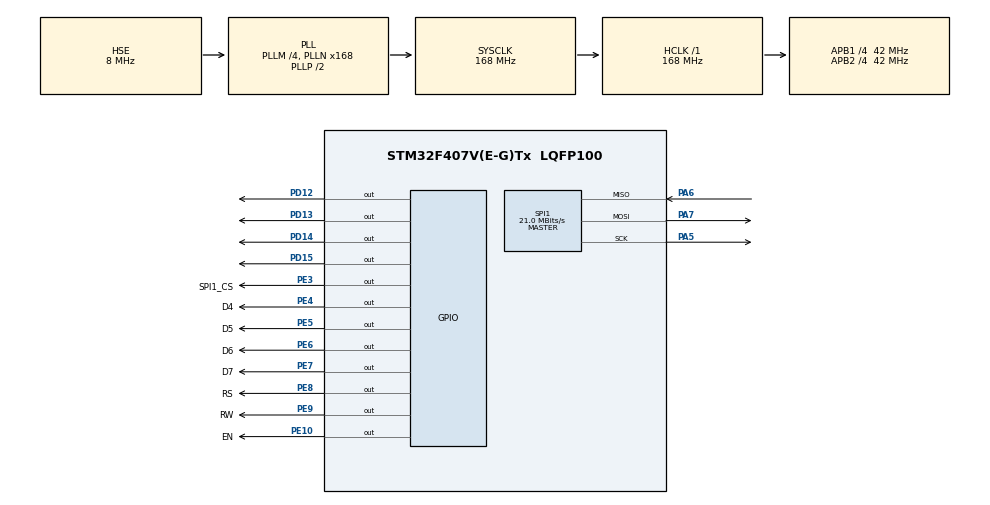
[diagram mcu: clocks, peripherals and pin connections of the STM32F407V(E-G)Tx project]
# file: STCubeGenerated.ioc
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Mcu.Family=STM32F4
Mcu.Name=STM32F407V(E-G)Tx
Mcu.Package=LQFP100
NVIC.PriorityGroup=NVIC_PRIORITYGROUP_4
PA5.Mode=Full_Duplex_Master
PA5.Signal=SPI1_SCK
PA6.Mode=Full_Duplex_Master
PA6.Signal=SPI1_MISO
PA7.Mode=Full_Duplex_Master
PA7.Signal=SPI1_MOSI
PD12.Signal=GPIO_Output
PD13.Signal=GPIO_Output
PD14.Signal=GPIO_Output
PD15.Signal=GPIO_Output
PE10.GPIO_Label=EN
PE10.GPIO_ModeDefaultOutputPP=GPIO_MODE_OUTPUT_PP
PE10.GPIO_PuPd=GPIO_NOPULL
PE10.Signal=GPIO_Output
PE3.GPIO_Label=SPI1_CS
PE3.Signal=GPIO_Output
PE4.GPIO_Label=D4
PE4.GPIO_ModeDefaultOutputPP=GPIO_MODE_OUTPUT_PP
PE4.GPIO_PuPd=GPIO_NOPULL
PE4.Signal=GPIO_Output
PE5.GPIO_Label=D5
PE5.GPIO_ModeDefaultOutputPP=GPIO_MODE_OUTPUT_PP
PE5.GPIO_PuPd=GPIO_NOPULL
PE5.Signal=GPIO_Output
PE6.GPIO_Label=D6
PE6.GPIO_ModeDefaultOutputPP=GPIO_MODE_OUTPUT_PP
PE6.GPIO_PuPd=GPIO_NOPULL
PE6.Signal=GPIO_Output
PE7.GPIO_Label=D7
PE7.GPIO_ModeDefaultOutputPP=GPIO_MODE_OUTPUT_PP
PE7.GPIO_PuPd=GPIO_NOPULL
PE7.Signal=GPIO_Output
PE8.GPIO_Label=RS
PE8.GPIO_ModeDefaultOutputPP=GPIO_MODE_OUTPUT_PP
PE8.GPIO_PuPd=GPIO_NOPULL
PE8.Signal=GPIO_Output
PE9.GPIO_Label=RW
PE9.GPIO_ModeDefaultOutputPP=GPIO_MODE_OUTPUT_PP
PE9.GPIO_PuPd=GPIO_NOPULL
PE9.Signal=GPIO_Output
PH0-OSC_IN.Mode=HSE-External-Oscillator
PH0-OSC_IN.Signal=RCC_OSC_IN
PH1-OSC_OUT.Mode=HSE-External-Oscillator
PH1-OSC_OUT.Signal=RCC_OSC_OUT
ProjectManager.HeapSize=0x200
ProjectManager.StackSize=0x400
ProjectManager.TargetToolchain=MDK-ARM V5
RCC.48MHZClocksFreq_Value=84000000
RCC.AHBFreq_Value=168000000
RCC.APB1CLKDivider=RCC_HCLK_DIV4
RCC.APB1Freq_Value=42000000
RCC.APB1TimFreq_Value=84000000
RCC.APB2CLKDivider=RCC_HCLK_DIV4
RCC.APB2Freq_Value=42000000
RCC.APB2TimFreq_Value=84000000
RCC.CortexFreq_Value=168000000
RCC.HCLKFreq_Value=168000000
RCC.HSE_VALUE=8000000
RCC.HSI_VALUE=16000000
RCC.LSE_VALUE=32768
RCC.PLLM=4
RCC.PLLN=168
RCC.PLLSourceVirtual=RCC_PLLSOURCE_HSE
RCC.SYSCLKFreq_VALUE=168000000
RCC.SYSCLKSource=RCC_SYSCLKSOURCE_PLLCLK
RCC.VCOOutputFreq_Value=336000000
SPI1.CalculateBaudRate=21.0 MBits/s
SPI1.Direction=SPI_DIRECTION_2LINES
SPI1.Mode=SPI_MODE_MASTER
SPI1.VirtualType=VM_MASTER
board=custom

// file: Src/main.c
/* USER CODE BEGIN Header */
/**
  ******************************************************************************
  * @file           : main.c
  * @brief          : Main program body
  ******************************************************************************
  * @attention
  *
  * Copyright (c) 2023 STMicroelectronics.
  * All rights reserved.
  *
  * This software is licensed under terms that can be found in the LICENSE file
  * in the root directory of this software component.
  * If no LICENSE file comes with this software, it is provided AS-IS.
  *
  ******************************************************************************
  */
/* USER CODE END Header */
#include "main.h"

/* USER CODE BEGIN Includes */
#include "lcd.h"
#include "stdio.h"

/* USER CODE END Includes */

SPI_HandleTypeDef hspi1;

void SystemClock_Config(void);
static void MX_GPIO_Init(void);
static void MX_SPI1_Init(void);

int main(void)
{

  /* MCU Configuration--------------------------------------------------------*/

  /* Reset of all peripherals, Initializes the Flash interface and the Systick. */
  HAL_Init();

  /* Configure the system clock */
  SystemClock_Config();

  /* Initialize all configured peripherals */
  MX_GPIO_Init();
  MX_SPI1_Init();
  /* USER CODE BEGIN 2 */

	// lcd_init
	HAL_GPIO_WritePin(RW_GPIO_Port, RW_Pin, 0);
	Lcd_PortType ports[] = { D4_GPIO_Port, D5_GPIO_Port, D6_GPIO_Port, D7_GPIO_Port };
	Lcd_PinType pins[] = {D4_Pin, D5_Pin, D6_Pin, D7_Pin};
	Lcd_HandleTypeDef lcd;
	lcd = Lcd_create(ports, pins, RS_GPIO_Port, RS_Pin, EN_GPIO_Port, EN_Pin, LCD_4_BIT_MODE);

	// write something and wait 3sec
	Lcd_string(&lcd, "BANU Embedded Sys.");
	Lcd_cursor(&lcd, 1,6);
	Lcd_int(&lcd, 2023);
	HAL_Delay(1000);
	Lcd_clear(&lcd);

  /* USER CODE END 2 */

  /* Infinite loop */
  /* USER CODE BEGIN WHILE */

/*****************************************************************/
	char str[16];

	uint8_t txData[8], rxData[8];
	uint16_t xData;
	uint16_t yData;
	uint16_t zData;
	uint8_t statusReg;

	__HAL_SPI_ENABLE(&hspi1);

  while (1)
  {

		// read who_am_i register
		txData[0]=0x0F|0x80;

		HAL_GPIO_WritePin(SPI1_CS_GPIO_Port, SPI1_CS_Pin, 0);
		HAL_SPI_Transmit(&hspi1, txData, 1, 50);
		HAL_SPI_Receive(&hspi1, rxData, 1, 50);
		HAL_GPIO_WritePin(SPI1_CS_GPIO_Port, SPI1_CS_Pin, 1);

		//HAL_SPI_TransmitReceive(&hspi1, txData, rxData, 3, 100);

		// read status register
		txData[0]=0x27|0x80;

		HAL_GPIO_WritePin(SPI1_CS_GPIO_Port, SPI1_CS_Pin, 0);
		HAL_SPI_Transmit(&hspi1, txData, 1, 50);
		HAL_SPI_Receive(&hspi1, rxData, 1, 50);
		HAL_GPIO_WritePin(SPI1_CS_GPIO_Port, SPI1_CS_Pin, 1);

		statusReg=rxData[0];

		// is x updated
		if (statusReg&1)
		{
			txData[0]=0x28|0x80;
			txData[0]=0x29|0x80;

			HAL_GPIO_WritePin(SPI1_CS_GPIO_Port, SPI1_CS_Pin, 0);
			// read x_H
			HAL_SPI_Transmit(&hspi1, &txData[0], 1, 50);
			HAL_SPI_Receive(&hspi1, &rxData[0], 1, 50);
			// read x_y
			HAL_SPI_Transmit(&hspi1, &txData[1], 1, 50);
			HAL_SPI_Receive(&hspi1, &rxData[1], 1, 50);

			HAL_GPIO_WritePin(SPI1_CS_GPIO_Port, SPI1_CS_Pin, 1);

			xData=(uint16_t)(rxData[0]<<8)+rxData[1];
		}

		// is y updated
		if (statusReg&2)
		{
			txData[0]=0x2A|0x80;
			txData[0]=0x2B|0x80;

			HAL_GPIO_WritePin(SPI1_CS_GPIO_Port, SPI1_CS_Pin, 0);
			// read x_H
			HAL_SPI_Transmit(&hspi1, &txData[0], 1, 50);
			HAL_SPI_Receive(&hspi1, &rxData[0], 1, 50);
			// read x_y
			HAL_SPI_Transmit(&hspi1, &txData[1], 1, 50);
			HAL_SPI_Receive(&hspi1, &rxData[1], 1, 50);

			HAL_GPIO_WritePin(SPI1_CS_GPIO_Port, SPI1_CS_Pin, 1);

			yData=(uint16_t)(rxData[0]<<8)+rxData[1];
		}

		// is z updated
		if (statusReg&4)
		{
			txData[0]=0x2C|0x80;
			txData[0]=0x2D|0x80;

			HAL_GPIO_WritePin(SPI1_CS_GPIO_Port, SPI1_CS_Pin, 0);
			// read x_H
			HAL_SPI_Transmit(&hspi1, &txData[0], 1, 50);
			HAL_SPI_Receive(&hspi1, &rxData[0], 1, 50);
			// read x_y
			HAL_SPI_Transmit(&hspi1, &txData[1], 1, 50);
			HAL_SPI_Receive(&hspi1, &rxData[1], 1, 50);

			HAL_GPIO_WritePin(SPI1_CS_GPIO_Port, SPI1_CS_Pin, 1);

			zData=(uint16_t)(rxData[0]<<8)+rxData[1];
		}
/*****************************************************************/

		// print data to lcd
		Lcd_cursor(&lcd, 0,0);
		snprintf(str, 16, "x= %d y= %d", xData, yData);
		Lcd_string(&lcd, str);
		Lcd_cursor(&lcd, 1,0);
		snprintf(str, 16, "z= %d", zData);
		Lcd_string(&lcd, str);

		HAL_Delay(100);

    /* USER CODE END WHILE */

  }
}

void SystemClock_Config(void)
{
  RCC_OscInitTypeDef RCC_OscInitStruct = {0};
  RCC_ClkInitTypeDef RCC_ClkInitStruct = {0};

  /** Configure the main internal regulator output voltage
  */
  __HAL_RCC_PWR_CLK_ENABLE();
  __HAL_PWR_VOLTAGESCALING_CONFIG(PWR_REGULATOR_VOLTAGE_SCALE1);

  /** Initializes the RCC Oscillators according to the specified parameters
  * in the RCC_OscInitTypeDef structure.
  */
  RCC_OscInitStruct.OscillatorType = RCC_OSCILLATORTYPE_HSE;
  RCC_OscInitStruct.HSEState = RCC_HSE_ON;
  RCC_OscInitStruct.PLL.PLLState = RCC_PLL_ON;
  RCC_OscInitStruct.PLL.PLLSource = RCC_PLLSOURCE_HSE;
  RCC_OscInitStruct.PLL.PLLM = 4;
  RCC_OscInitStruct.PLL.PLLN = 168;
  RCC_OscInitStruct.PLL.PLLP = RCC_PLLP_DIV2;
  RCC_OscInitStruct.PLL.PLLQ = 4;
  if (HAL_RCC_OscConfig(&RCC_OscInitStruct) != HAL_OK)
  {
    Error_Handler();
  }

  /** Initializes the CPU, AHB and APB buses clocks
  */
  RCC_ClkInitStruct.ClockType = RCC_CLOCKTYPE_HCLK|RCC_CLOCKTYPE_SYSCLK
                              |RCC_CLOCKTYPE_PCLK1|RCC_CLOCKTYPE_PCLK2;
  RCC_ClkInitStruct.SYSCLKSource = RCC_SYSCLKSOURCE_PLLCLK;
  RCC_ClkInitStruct.AHBCLKDivider = RCC_SYSCLK_DIV1;
  RCC_ClkInitStruct.APB1CLKDivider = RCC_HCLK_DIV4;
  RCC_ClkInitStruct.APB2CLKDivider = RCC_HCLK_DIV4;

  if (HAL_RCC_ClockConfig(&RCC_ClkInitStruct, FLASH_LATENCY_5) != HAL_OK)
  {
    Error_Handler();
  }
}

static void MX_SPI1_Init(void)
{

  /* SPI1 parameter configuration*/
  hspi1.Instance = SPI1;
  hspi1.Init.Mode = SPI_MODE_MASTER;
  hspi1.Init.Direction = SPI_DIRECTION_2LINES;
  hspi1.Init.DataSize = SPI_DATASIZE_8BIT;
  hspi1.Init.CLKPolarity = SPI_POLARITY_LOW;
  hspi1.Init.CLKPhase = SPI_PHASE_1EDGE;
  hspi1.Init.NSS = SPI_NSS_SOFT;
  hspi1.Init.BaudRatePrescaler = SPI_BAUDRATEPRESCALER_2;
  hspi1.Init.FirstBit = SPI_FIRSTBIT_MSB;
  hspi1.Init.TIMode = SPI_TIMODE_DISABLE;
  hspi1.Init.CRCCalculation = SPI_CRCCALCULATION_DISABLE;
  hspi1.Init.CRCPolynomial = 10;
  if (HAL_SPI_Init(&hspi1) != HAL_OK)
  {
    Error_Handler();
  }

}

static void MX_GPIO_Init(void)
{
  GPIO_InitTypeDef GPIO_InitStruct = {0};

  /* GPIO Ports Clock Enable */
  __HAL_RCC_GPIOE_CLK_ENABLE();
  __HAL_RCC_GPIOH_CLK_ENABLE();
  __HAL_RCC_GPIOA_CLK_ENABLE();
  __HAL_RCC_GPIOD_CLK_ENABLE();

  /*Configure GPIO pin Output Level */
  HAL_GPIO_WritePin(GPIOE, SPI1_CS_Pin|D4_Pin|D5_Pin|D6_Pin
                          |D7_Pin|RS_Pin|RW_Pin|EN_Pin, GPIO_PIN_RESET);

  /*Configure GPIO pin Output Level */
  HAL_GPIO_WritePin(GPIOD, GPIO_PIN_12|GPIO_PIN_13|GPIO_PIN_14|GPIO_PIN_15, GPIO_PIN_RESET);

  /*Configure GPIO pins : SPI1_CS_Pin D4_Pin D5_Pin D6_Pin
                           D7_Pin RS_Pin RW_Pin EN_Pin */
  GPIO_InitStruct.Pin = SPI1_CS_Pin|D4_Pin|D5_Pin|D6_Pin
                          |D7_Pin|RS_Pin|RW_Pin|EN_Pin;
  GPIO_InitStruct.Mode = GPIO_MODE_OUTPUT_PP;
  GPIO_InitStruct.Pull = GPIO_NOPULL;
  GPIO_InitStruct.Speed = GPIO_SPEED_FREQ_LOW;
  HAL_GPIO_Init(GPIOE, &GPIO_InitStruct);

  /*Configure GPIO pins : PD12 PD13 PD14 PD15 */
  GPIO_InitStruct.Pin = GPIO_PIN_12|GPIO_PIN_13|GPIO_PIN_14|GPIO_PIN_15;
  GPIO_InitStruct.Mode = GPIO_MODE_OUTPUT_PP;
  GPIO_InitStruct.Pull = GPIO_NOPULL;
  GPIO_InitStruct.Speed = GPIO_SPEED_FREQ_LOW;
  HAL_GPIO_Init(GPIOD, &GPIO_InitStruct);

}

void Error_Handler(void)
{
  __disable_irq();
  while (1)
  {
  }
}
